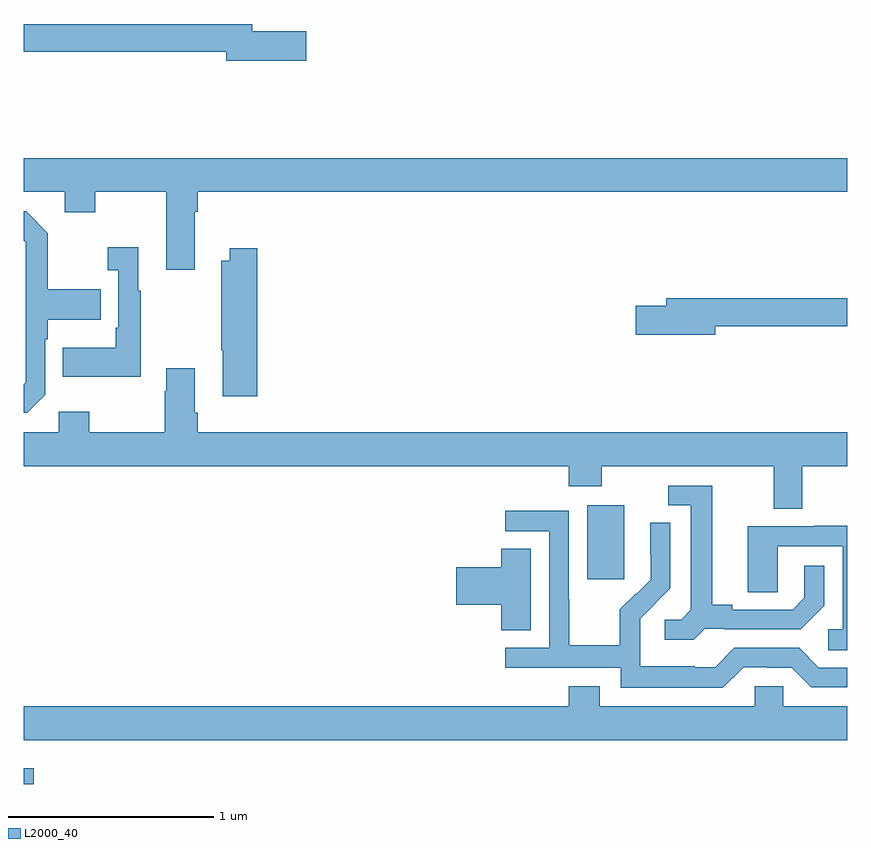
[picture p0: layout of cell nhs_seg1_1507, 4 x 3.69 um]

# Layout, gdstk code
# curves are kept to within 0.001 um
import gdstk
lib = gdstk.Library(unit=1e-6, precision=1e-09)
def R(c, l, rs):  # rectangles x0, y0, x1, y1
    for r in rs: c.add(gdstk.rectangle(r[:2], r[2:], *l))
def P(c, l, *ps):  # polygons
    for p in ps: c.add(gdstk.Polygon(p, *l))
L2000_40 = (2000, 40)

nhs_seg1_1507 = lib.new_cell('nhs_seg1_1507')
R(nhs_seg1_1507, L2000_40, [(193,538.199,193.048,538.276), (195.737,539.193,195.916,539.554)])
P(nhs_seg1_1507, L2000_40, [(194.371,541.856),(194.11,541.856),(194.11,541.892),(193,541.892),(193,541.756),(193.982,541.756),(193.982,541.714),(194.371,541.714)],
  [(193.831,540.98),(193.844,540.98),(193.844,541.076),(197,541.076),(197,541.24),(193,541.24),(193,541.076),(193.199,541.076),(193.199,540.977),(193.347,540.977),(193.347,541.076),(193.691,541.076),(193.691,540.699),(193.831,540.699)],
  [(193.104,540.09),(193.104,540.359),(193.117,540.359),(193.117,540.455),(193.373,540.455),(193.373,540.603),(193.117,540.603),(193.117,540.875),(193.011,540.981),(193,540.981),(193,540.839),(193.008,540.831),(193.008,540.15),(193,540.142),(193,540.003),(193.017,540.003)],
  [(193.567,540.595),(193.555,540.595),(193.555,540.808),(193.407,540.808),(193.407,540.695),(193.458,540.695),(193.458,540.415),(193.446,540.415),(193.446,540.319),(193.189,540.319),(193.189,540.179),(193.567,540.179)],
  [(194.135,540.802),(194,540.802),(194,540.742),(193.96,540.742),(193.96,540.307),(193.967,540.307),(193.967,540.084),(194.135,540.084)],
  [(196.36,540.424),(197,540.424),(197,540.56),(196.121,540.56),(196.121,540.524),(195.972,540.524),(195.972,540.382),(196.36,540.382)],
  [(196.783,539.744),(197,539.744),(197,539.908),(193.844,539.908),(193.844,540.004),(193.831,540.004),(193.831,540.22),(193.691,540.22),(193.691,540.107),(193.684,540.107),(193.684,539.908),(193.317,539.908),(193.317,540.007),(193.17,540.007),(193.17,539.908),(193,539.908),(193,539.744),(195.647,539.744),(195.647,539.645),(195.807,539.645),(195.807,539.744),(196.643,539.744),(196.643,539.536),(196.783,539.536)],
  [(196.308,538.953),(196.402,538.953),(196.402,538.95),(196.774,538.95),(196.89,539.066),(196.89,539.26),(196.793,539.26),(196.793,539.103),(196.736,539.046),(196.441,539.046),(196.441,539.069),(196.345,539.069),(196.345,539.649),(196.131,539.649),(196.131,539.553),(196.241,539.553),(196.241,539.045),(196.194,538.998),(196.113,538.998),(196.113,538.901),(196.256,538.901)],
  [(196.497,538.767),(196.613,538.767),(196.613,538.764),(196.731,538.764),(196.827,538.668),(197,538.668),(197,538.764),(196.863,538.764),(196.767,538.86),(196.452,538.86),(196.359,538.767),(196.259,538.767),(196.259,538.771),(195.996,538.771),(195.996,538.905),(195.994,538.905),(195.994,539.002),(196.14,539.15),(196.14,539.468),(196.044,539.468),(196.044,539.314),(196.046,539.314),(196.046,539.192),(195.975,539.121),(195.972,539.124),(195.895,539.047),(195.895,538.873),(195.651,538.873),(195.651,539.096),(195.648,539.096),(195.648,539.526),(195.339,539.526),(195.339,539.427),(195.552,539.427),(195.552,538.86),(195.339,538.86),(195.339,538.764),(195.9,538.764),(195.9,538.667),(196.397,538.667)],
  [(197,539.455),(196.841,539.455),(196.841,539.451),(196.517,539.451),(196.517,539.131),(196.662,539.131),(196.662,539.355),(196.98,539.355),(196.98,538.95),(196.908,538.95),(196.908,538.849),(197,538.849)],
  [(195.463,539.342),(195.32,539.342),(195.32,539.252),(195.102,539.252),(195.102,539.069),(195.32,539.069),(195.32,538.945),(195.463,538.945)],
  [(197,538.576),(196.689,538.576),(196.689,538.674),(196.551,538.674),(196.551,538.576),(195.799,538.576),(195.799,538.675),(195.647,538.675),(195.647,538.576),(193,538.576),(193,538.412),(197,538.412)])

lib.write_gds('nhs_seg1_1507.gds')
